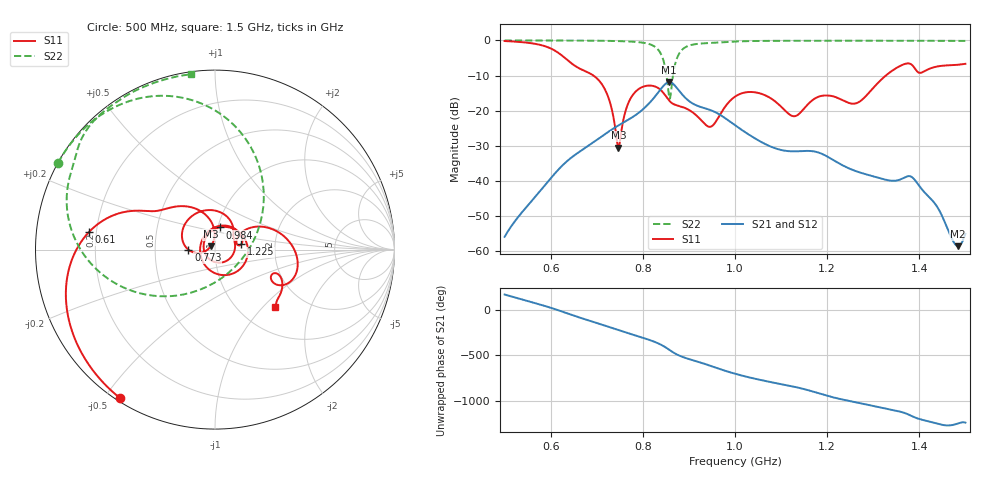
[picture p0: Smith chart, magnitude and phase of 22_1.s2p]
! TOUCHSTONE file generated by CST MICROWAVE STUDIO
! Date and time: Fri Oct  2 18:38:56 2020
! Project name: Scenario_1_Free_Space_out_of_line.cst
! Parameters = {Lambda=346.42; Step_1=17.321; dy1=-16.521; dx1=173; L_HA=400; MT=2.54; Rad_Dielectric=30; Rad_Lower=7.3; Rad_Upper=30; a_HA=580; a_WG=246; b_HA=500; b_WG=121; c_HA=0; c_WG=187; d_feed=85; h_feed=15; h_lower=18; h_upper=40}
! Header version: 2018
! Port assignment regex: !\s*Touchstone port\s*([0-9]+)\s*=\s*(CST MWS port|CST DS port)\s*([0-9]+|Zmin|Zmax)\s*\(\"(.*)\"\)(\s*mode\s*([0-9]+))?.*
! Touchstone port assignment:
! Touchstone port 1 = CST MWS port 1 ("")
! Touchstone port 2 = CST MWS port 2 ("")
# GHz S DB R 50
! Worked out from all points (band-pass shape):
!   1003 points, 500 MHz to 1.5 GHz, reference 50 ohm
!   highest |S21| = -11.87 dB at 857 MHz (marker M1); lowest = -58.6 dB at 1.484 GHz (marker M2)
!   |S21| within 3 dB of the highest: 833.1 MHz to 881.9 MHz (48.89 MHz wide, 5.7 % of centre)
!   lowest |S11| = -30.5 dB at 747 MHz (marker M3), VSWR 1.06, Z = 47.7 + j1.72 ohm
!   |S11| at or under -10 dB: 692.7 MHz to 1.327 GHz (634.7 MHz wide, 62.8 % of centre)
!   |S22| runs from -16.7 to 0.0 dB; largest |S21 - S12| = 0.00017
!   S11 on the Smith chart (normalised r, x): 500 MHz: 0.01, -0.55; 610 MHz: 0.17, +0.07; 773 MHz: 0.74, -0.00; 984 MHz: 1.02, +0.26; 1.225 GHz: 1.34, +0.08; 1.5 GHz: 1.44, -1.18
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0.5  -0.16 -122.8  -55.95 170.1  -55.95 170.1  -0.01 151.1
0.61  -2.97 172.2  -37.77 8.3  -37.77 8.3  -0.02 143.3
0.667  -8.28 145.9  -31.32 -90.1  -31.32 -90.1  -0.05 138.3
0.718  -14.03 104.8  -26.69 -172.2  -26.69 -172.2  -0.11 132.5
0.747  -30.53 142.6  -24.22 139.3  -24.22 139.3  -0.19 128.1
0.773  -16.61 -179.7  -22.23 97.1  -22.23 97.1  -0.32 122.6
0.834  -13.62 80.1  -14.71 -8.8  -14.71 -8.8  -2.76 84.3
0.857  -17.12 42.6  -11.87 -76.9  -11.87 -76.9  -16.14 -22.5
0.869  -18.28 30.9  -12.80 -116.1  -12.80 -116.1  -7.36 -143.2
0.89  -19.16 0.2  -16.06 -163.3  -16.07 -163.3  -2.13 175.7
0.946  -24.61 -153.1  -19.81 107.2  -19.81 107.2  -0.72 148.9
0.984  -17.97 78.2  -22.64 42.7  -22.64 42.7  -0.41 142.8
1  -16.02 44.8  -24.15 19.0  -24.15 19.0  -0.31 140.6
1.078  -16.52 -72.2  -30.27 -73.5  -30.27 -73.5  -0.12 131.7
1.127  -21.59 -179.5  -31.61 -122.6  -31.61 -122.6  -0.10 127.3
1.167  -17.12 73.9  -31.54 -174.4  -31.54 -174.4  -0.11 124.1
1.225  -16.51 11.5  -34.97 104.4  -34.97 104.4  -0.09 119.7
1.267  -17.69 23.1  -37.45 59.6  -37.45 59.6  -0.08 116.5
1.334  -9.30 19.1  -39.88 -12.5  -39.88 -12.5  -0.09 111.4
1.387  -7.39 -27.6  -39.29 -94.9  -39.29 -94.9  -0.10 107.3
1.484  -6.93 -40.5  -58.62 -168.5  -58.57 -168.0  -0.12 99.2
1.5  -6.66 -43.8  -55.11 -159.4  -54.67 -163.9  -0.13 97.8
